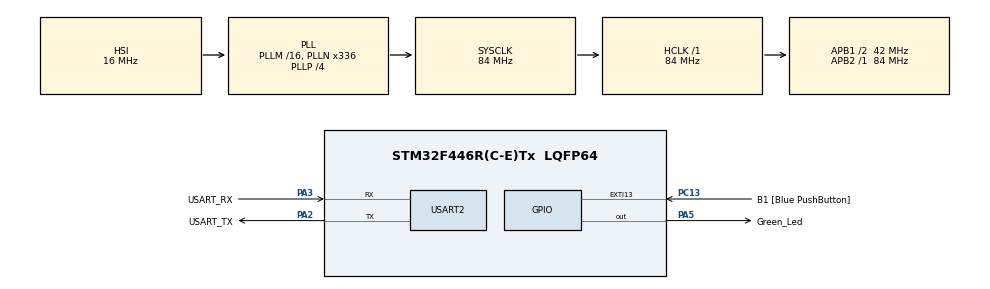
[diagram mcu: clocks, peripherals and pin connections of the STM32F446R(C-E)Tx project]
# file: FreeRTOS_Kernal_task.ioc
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Mcu.Family=STM32F4
Mcu.Name=STM32F446R(C-E)Tx
Mcu.Package=LQFP64
NVIC.PriorityGroup=NVIC_PRIORITYGROUP_4
NVIC.TIM6_DAC_IRQn=true\:0\:0\:false\:false\:true\:false\:true\:true
NVIC.TimeBase=TIM6_DAC_IRQn
NVIC.TimeBaseIP=TIM6
PA13.GPIO_Label=TMS
PA13.Signal=SYS_JTMS-SWDIO
PA14.GPIO_Label=TCK
PA14.Signal=SYS_JTCK-SWCLK
PA2.GPIO_Label=USART_TX
PA2.Mode=Asynchronous
PA2.Signal=USART2_TX
PA3.GPIO_Label=USART_RX
PA3.Mode=Asynchronous
PA3.Signal=USART2_RX
PA5.GPIO_Label=Green_Led
PA5.Signal=GPIO_Output
PB3.GPIO_Label=SWO
PB3.Signal=SYS_JTDO-SWO
PC13.GPIO_Label=B1 [Blue PushButton]
PC13.GPIO_ModeDefaultEXTI=GPIO_MODE_IT_FALLING
PC13.Signal=GPXTI13
PC14-OSC32_IN.Signal=RCC_OSC32_IN
PC15-OSC32_OUT.Signal=RCC_OSC32_OUT
PH0-OSC_IN.Signal=RCC_OSC_IN
PH1-OSC_OUT.Signal=RCC_OSC_OUT
ProjectManager.HeapSize=0x200
ProjectManager.StackSize=0x400
ProjectManager.TargetToolchain=STM32CubeIDE
RCC.AHBFreq_Value=84000000
RCC.APB1CLKDivider=RCC_HCLK_DIV2
RCC.APB1Freq_Value=42000000
RCC.APB1TimFreq_Value=84000000
RCC.APB2Freq_Value=84000000
RCC.APB2TimFreq_Value=84000000
RCC.CortexFreq_Value=84000000
RCC.FLatency-AdvancedSettings=FLASH_LATENCY_2
RCC.HCLKFreq_Value=84000000
RCC.HSE_VALUE=8000000
RCC.HSI_VALUE=16000000
RCC.LSE_VALUE=32768
RCC.PLLN=336
RCC.PLLP=RCC_PLLP_DIV4
RCC.SYSCLKFreq_VALUE=84000000
RCC.SYSCLKSource=RCC_SYSCLKSOURCE_PLLCLK
RCC.USBFreq_Value=168000000
RCC.VCOOutputFreq_Value=336000000
USART2.VirtualMode=VM_ASYNC
VP_SYS_VS_tim6.Mode=TIM6
board=NUCLEO-F446RE

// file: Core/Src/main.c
/* USER CODE BEGIN Header */
/**
  ******************************************************************************
  * @file           : main.c
  * @brief          : Main program body
  ******************************************************************************
  * @attention
  *
  * Copyright (c) 2024 STMicroelectronics.
  * All rights reserved.
  *
  * This software is licensed under terms that can be found in the LICENSE file
  * in the root directory of this software component.
  * If no LICENSE file comes with this software, it is provided AS-IS.
  *
  ******************************************************************************
  */
/* USER CODE END Header */
#include "main.h"

/* USER CODE BEGIN Includes */
#include <stdio.h>
#include "FreeRTOS.h"
#include "task.h"
#include"string.h"
#include "semphr.h"
/* USER CODE END Includes */

/* USER CODE BEGIN PD */
static void task1_handler(void* parameters);
static void task2_handler(void* parameters);
/* USER CODE END PD */

/* USER CODE BEGIN PM */
TaskHandle_t task1_handle;
TaskHandle_t task2_handle;
xSemaphoreHandle xWork;
/* USER CODE END PM */

UART_HandleTypeDef huart2;

void SystemClock_Config(void);
static void MX_GPIO_Init(void);
static void MX_USART2_UART_Init(void);

/* USER CODE BEGIN 0 */
char* msg1="Task2 \n";
char *msg2="Task1\n";
/* USER CODE END 0 */

int main(void)
{
  /* USER CODE BEGIN 1 */

	BaseType_t status;

  /* USER CODE END 1 */

  /* MCU Configuration--------------------------------------------------------*/

  /* Reset of all peripherals, Initializes the Flash interface and the Systick. */
  HAL_Init();

  /* USER CODE BEGIN Init */

  vSemaphoreCreateBinary( xWork );
  /* USER CODE END Init */

  /* Configure the system clock */
  SystemClock_Config();

  /* Initialize all configured peripherals */
  MX_GPIO_Init();
  MX_USART2_UART_Init();
  /* USER CODE BEGIN 2 */
  if((xWork != NULL) ){
  status = xTaskCreate(task1_handler, "Task-1", 200, "Hello world from Task-1", 2, &task1_handle);

  configASSERT(status == pdPASS);

  status = xTaskCreate(task2_handler, "Task-2", 200, "Hello world from Task-2", 2, &task2_handle);

  configASSERT(status == pdPASS);

  //start the freeRTOS scheduler
  vTaskStartScheduler();
}

  /* USER CODE END 2 */

  /* Infinite loop */
  while (1)
  {

  }
}

void SystemClock_Config(void)
{
  RCC_OscInitTypeDef RCC_OscInitStruct = {0};
  RCC_ClkInitTypeDef RCC_ClkInitStruct = {0};

  /** Configure the main internal regulator output voltage
  */
  __HAL_RCC_PWR_CLK_ENABLE();
  __HAL_PWR_VOLTAGESCALING_CONFIG(PWR_REGULATOR_VOLTAGE_SCALE3);

  /** Initializes the RCC Oscillators according to the specified parameters
  * in the RCC_OscInitTypeDef structure.
  */
  RCC_OscInitStruct.OscillatorType = RCC_OSCILLATORTYPE_HSI;
  RCC_OscInitStruct.HSIState = RCC_HSI_ON;
  RCC_OscInitStruct.HSICalibrationValue = RCC_HSICALIBRATION_DEFAULT;
  RCC_OscInitStruct.PLL.PLLState = RCC_PLL_ON;
  RCC_OscInitStruct.PLL.PLLSource = RCC_PLLSOURCE_HSI;
  RCC_OscInitStruct.PLL.PLLM = 16;
  RCC_OscInitStruct.PLL.PLLN = 336;
  RCC_OscInitStruct.PLL.PLLP = RCC_PLLP_DIV4;
  RCC_OscInitStruct.PLL.PLLQ = 2;
  RCC_OscInitStruct.PLL.PLLR = 2;
  if (HAL_RCC_OscConfig(&RCC_OscInitStruct) != HAL_OK)
  {
    Error_Handler();
  }

  /** Initializes the CPU, AHB and APB buses clocks
  */
  RCC_ClkInitStruct.ClockType = RCC_CLOCKTYPE_HCLK|RCC_CLOCKTYPE_SYSCLK
                              |RCC_CLOCKTYPE_PCLK1|RCC_CLOCKTYPE_PCLK2;
  RCC_ClkInitStruct.SYSCLKSource = RCC_SYSCLKSOURCE_PLLCLK;
  RCC_ClkInitStruct.AHBCLKDivider = RCC_SYSCLK_DIV1;
  RCC_ClkInitStruct.APB1CLKDivider = RCC_HCLK_DIV2;
  RCC_ClkInitStruct.APB2CLKDivider = RCC_HCLK_DIV1;

  if (HAL_RCC_ClockConfig(&RCC_ClkInitStruct, FLASH_LATENCY_2) != HAL_OK)
  {
    Error_Handler();
  }
}

static void MX_USART2_UART_Init(void)
{

  huart2.Instance = USART2;
  huart2.Init.BaudRate = 115200;
  huart2.Init.WordLength = UART_WORDLENGTH_8B;
  huart2.Init.StopBits = UART_STOPBITS_1;
  huart2.Init.Parity = UART_PARITY_NONE;
  huart2.Init.Mode = UART_MODE_TX_RX;
  huart2.Init.HwFlowCtl = UART_HWCONTROL_NONE;
  huart2.Init.OverSampling = UART_OVERSAMPLING_16;
  if (HAL_UART_Init(&huart2) != HAL_OK)
  {
    Error_Handler();
  }

}

static void MX_GPIO_Init(void)
{
  GPIO_InitTypeDef GPIO_InitStruct = {0};

  /* GPIO Ports Clock Enable */
  __HAL_RCC_GPIOC_CLK_ENABLE();
  __HAL_RCC_GPIOH_CLK_ENABLE();
  __HAL_RCC_GPIOA_CLK_ENABLE();
  __HAL_RCC_GPIOB_CLK_ENABLE();

  /*Configure GPIO pin Output Level */
  HAL_GPIO_WritePin(Green_Led_GPIO_Port, Green_Led_Pin, GPIO_PIN_RESET);

  /*Configure GPIO pin : B1_Pin */
  GPIO_InitStruct.Pin = B1_Pin;
  GPIO_InitStruct.Mode = GPIO_MODE_IT_FALLING;
  GPIO_InitStruct.Pull = GPIO_NOPULL;
  HAL_GPIO_Init(B1_GPIO_Port, &GPIO_InitStruct);

  /*Configure GPIO pin : Green_Led_Pin */
  GPIO_InitStruct.Pin = Green_Led_Pin;
  GPIO_InitStruct.Mode = GPIO_MODE_OUTPUT_PP;
  GPIO_InitStruct.Pull = GPIO_NOPULL;
  GPIO_InitStruct.Speed = GPIO_SPEED_FREQ_LOW;
  HAL_GPIO_Init(Green_Led_GPIO_Port, &GPIO_InitStruct);

}

/* USER CODE BEGIN 4 */
static void task1_handler(void* parameters)
{

	while(1)
	{
	 xSemaphoreTake( xWork, portMAX_DELAY );
		HAL_UART_Transmit(&huart2, &msg1[0], strlen(msg1), 100);
		xSemaphoreGive( xWork);
		vTaskDelay( 1 / portTICK_PERIOD_MS);
	}

}

static void task2_handler(void* parameters)
{

	xSemaphoreGive( xWork);
	while(1)
	{
		xSemaphoreTake( xWork,portMAX_DELAY );
    	HAL_UART_Transmit(&huart2, &msg2[0], strlen(msg2), 100);
 	 xSemaphoreGive( xWork);
 	 	vTaskDelay( 1 / portTICK_PERIOD_MS);

	}

}
/* USER CODE END 4 */

void HAL_TIM_PeriodElapsedCallback(TIM_HandleTypeDef *htim)
{
  if (htim->Instance == TIM6) {
    HAL_IncTick();
  }
}

void Error_Handler(void)
{
  __disable_irq();
  while (1)
  {
  }
}
